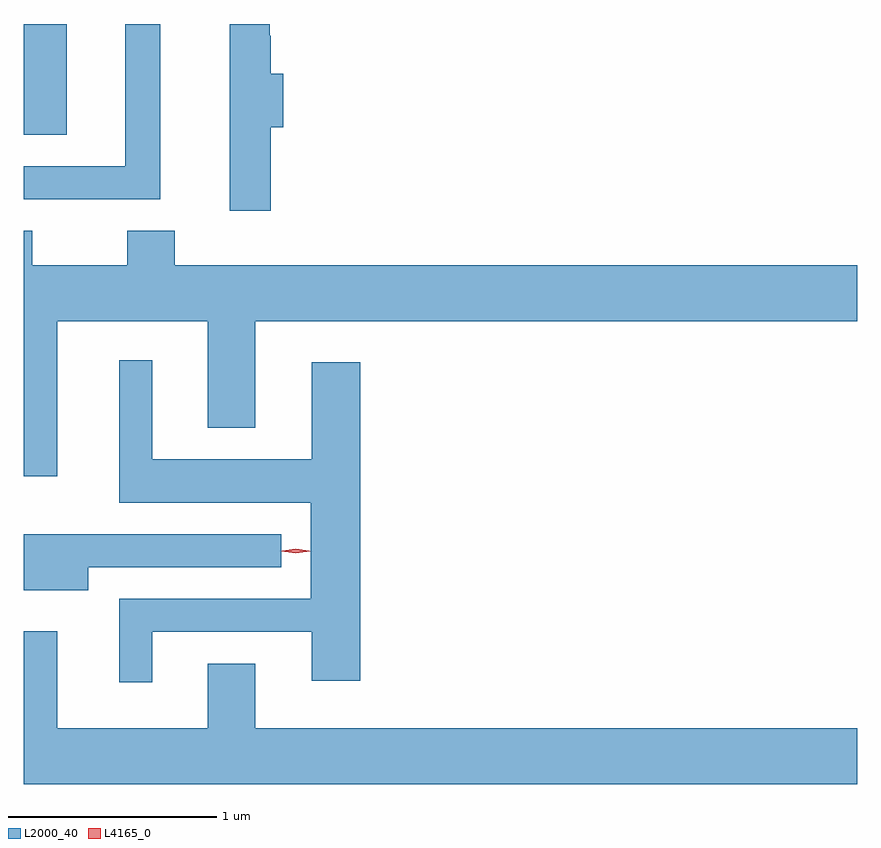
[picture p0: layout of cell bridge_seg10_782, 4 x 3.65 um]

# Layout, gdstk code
import gdstk
lib = gdstk.Library(unit=1e-6, precision=1e-09)
def R(c, l, rs):  # rectangles x0, y0, x1, y1
    for r in rs: c.add(gdstk.rectangle(r[:2], r[2:], *l))
def P(c, l, *ps):  # polygons
    for p in ps: c.add(gdstk.Polygon(p, *l))
L2000_40 = (2000, 40)
L4165_0 = (4165, 0)

bridge_seg10_782 = lib.new_cell('bridge_seg10_782')
R(bridge_seg10_782, L2000_40, [(580.918,2097.051,581.124,2097.582)])
P(bridge_seg10_782, L2000_40, [(581.574,2097.582),(581.406,2097.582),(581.406,2096.899),(580.918,2096.899),(580.918,2096.741),(581.574,2096.741)],
  [(582.104,2097.086),(582.164,2097.086),(582.164,2097.344),(582.104,2097.344),(582.104,2097.525),(582.099,2097.525),(582.099,2097.582),(581.906,2097.582),(581.906,2096.686),(582.104,2096.686)],
  [(581.079,2096.156),(581.801,2096.156),(581.801,2095.646),(582.029,2095.646),(582.029,2096.156),(584.918,2096.156),(584.918,2096.424),(581.644,2096.424),(581.644,2096.589),(581.416,2096.589),(581.416,2096.424),(580.959,2096.424),(580.959,2096.589),(580.918,2096.589),(580.918,2095.413),(581.079,2095.413)],
  [(581.534,2094.666),(582.301,2094.666),(582.301,2094.431),(582.534,2094.431),(582.534,2095.959),(582.301,2095.959),(582.301,2095.494),(581.534,2095.494),(581.534,2095.968),(581.376,2095.968),(581.376,2095.286),(582.296,2095.286),(582.296,2094.824),(581.376,2094.824),(581.376,2094.423),(581.534,2094.423)],
  [(581.229,2094.976),(582.153,2094.976),(582.153,2095.134),(580.918,2095.134),(580.918,2094.866),(581.229,2094.866)],
  [(584.918,2094.204),(582.029,2094.204),(582.029,2094.514),(581.801,2094.514),(581.801,2094.204),(581.079,2094.204),(581.079,2094.668),(580.918,2094.668),(580.918,2093.936),(584.918,2093.936)])
P(bridge_seg10_782, L4165_0, [(582.223,2095.045),(582.158,2095.054),(582.157,2095.055),(582.158,2095.055),(582.223,2095.065),(582.289,2095.055),(582.289,2095.055),(582.289,2095.054)],
  [(582.223,2095.042),(582.154,2095.052),(582.154,2095.052),(582.154,2095.053),(582.223,2095.062),(582.292,2095.053),(582.293,2095.052),(582.292,2095.052)])

lib.write_gds('bridge_seg10_782.gds')
